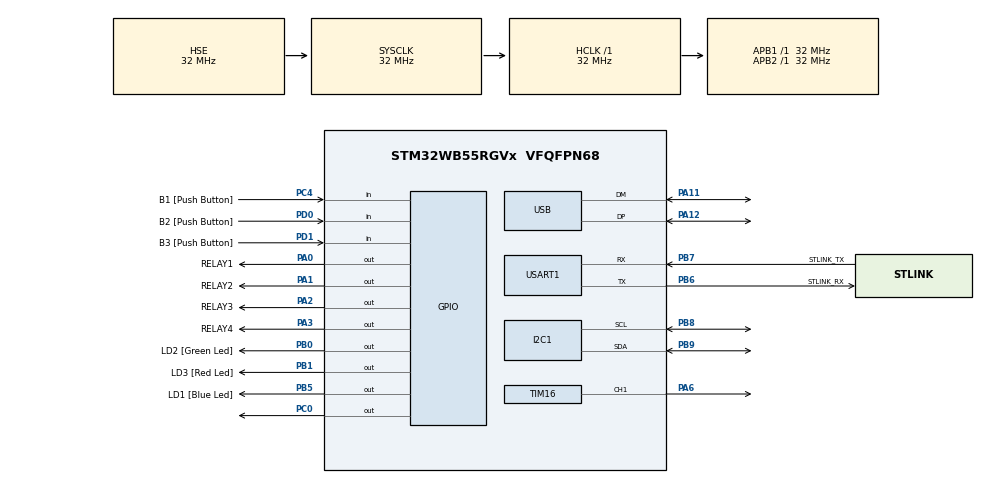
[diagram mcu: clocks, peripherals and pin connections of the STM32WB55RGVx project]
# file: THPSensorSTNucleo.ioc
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Dma.Request0=TIM16_CH1
Dma.TIM16_CH1.0.Direction=DMA_MEMORY_TO_PERIPH
Dma.TIM16_CH1.0.EventEnable=DISABLE
Dma.TIM16_CH1.0.Instance=DMA1_Channel1
Dma.TIM16_CH1.0.MemDataAlignment=DMA_MDATAALIGN_HALFWORD
Dma.TIM16_CH1.0.MemInc=DMA_MINC_ENABLE
Dma.TIM16_CH1.0.Mode=DMA_NORMAL
Dma.TIM16_CH1.0.PeriphDataAlignment=DMA_PDATAALIGN_HALFWORD
Dma.TIM16_CH1.0.PeriphInc=DMA_PINC_DISABLE
Dma.TIM16_CH1.0.Polarity=HAL_DMAMUX_REQ_GEN_RISING
Dma.TIM16_CH1.0.Priority=DMA_PRIORITY_LOW
Dma.TIM16_CH1.0.RequestNumber=1
Dma.TIM16_CH1.0.SignalID=NONE
Dma.TIM16_CH1.0.SyncEnable=DISABLE
Dma.TIM16_CH1.0.SyncPolarity=HAL_DMAMUX_SYNC_NO_EVENT
Dma.TIM16_CH1.0.SyncRequestNumber=1
Dma.TIM16_CH1.0.SyncSignalID=NONE
I2C1.Timing=0x00707CBB
Mcu.Family=STM32WB
Mcu.Name=STM32WB55RGVx
Mcu.Package=VFQFPN68
Mcu.UserConstants=USE_HAL_I2C_REGISTER_CALLBACKS,1
NVIC.DMA1_Channel1_IRQn=true\:0\:0\:false\:false\:true\:false\:true
NVIC.I2C1_ER_IRQn=true\:0\:0\:false\:false\:true\:true\:true
NVIC.I2C1_EV_IRQn=true\:0\:0\:false\:false\:true\:true\:true
NVIC.PriorityGroup=NVIC_PRIORITYGROUP_4
NVIC.TIM2_IRQn=true\:0\:0\:false\:false\:true\:true\:true
OSC_IN.Mode=HSE-External-Oscillator
OSC_IN.Signal=RCC_OSC_IN
OSC_OUT.Mode=HSE-External-Oscillator
OSC_OUT.Signal=RCC_OSC_OUT
PA0.GPIO_Label=RELAY1
PA0.Signal=GPIO_Output
PA1.GPIO_Label=RELAY2
PA1.Signal=GPIO_Output
PA11.Mode=Device
PA11.Signal=USB_DM
PA12.Mode=Device
PA12.Signal=USB_DP
PA13.GPIO_Label=JTMS
PA13.Mode=Trace_Asynchronous_SW
PA13.Signal=SYS_JTMS-SWDIO
PA14.GPIO_Label=JTCK
PA14.Mode=Trace_Asynchronous_SW
PA14.Signal=SYS_JTCK-SWCLK
PA2.GPIO_Label=RELAY3
PA2.Signal=GPIO_Output
PA3.GPIO_Label=RELAY4
PA3.Signal=GPIO_Output
PA6.Signal=S_TIM16_CH1
PB0.GPIO_Label=LD2 [Green Led]
PB0.Signal=GPIO_Output
PB1.GPIO_Label=LD3 [Red Led]
PB1.Signal=GPIO_Output
PB3.GPIO_Label=JTDO
PB3.Mode=Trace_Asynchronous_SW
PB3.Signal=SYS_JTDO-SWO
PB5.GPIO_Label=LD1 [Blue Led]
PB5.Signal=GPIO_Output
PB6.GPIO_Label=STLINK_RX
PB6.Mode=Asynchronous
PB6.Signal=USART1_TX
PB7.GPIO_Label=STLINK_TX
PB7.Mode=Asynchronous
PB7.Signal=USART1_RX
PB8.GPIO_FM8=SYSCFG_FASTMODEPLUS_PB8
PB8.GPIO_Speed=GPIO_SPEED_FREQ_HIGH
PB8.Mode=I2C
PB8.Signal=I2C1_SCL
PB9.GPIO_FM9=SYSCFG_FASTMODEPLUS_PB9
PB9.GPIO_Speed=GPIO_SPEED_FREQ_HIGH
PB9.Mode=I2C
PB9.Signal=I2C1_SDA
PC0.GPIO_Speed=GPIO_SPEED_FREQ_HIGH
PC0.Signal=GPIO_Output
PC13.Mode=SYS_WakeUp1
PC13.Signal=SYS_WKUP2
PC14-OSC32_IN.Mode=LSE-External-Oscillator
PC14-OSC32_IN.Signal=RCC_OSC32_IN
PC15-OSC32_OUT.Mode=LSE-External-Oscillator
PC15-OSC32_OUT.Signal=RCC_OSC32_OUT
PC4.GPIO_Label=B1 [Push Button]
PC4.Signal=GPIO_Input
PD0.GPIO_Label=B2 [Push Button]
PD0.Signal=GPIO_Input
PD1.GPIO_Label=B3 [Push Button]
PD1.Signal=GPIO_Input
ProjectManager.HeapSize=0x200
ProjectManager.StackSize=0x400
ProjectManager.TargetToolchain=STM32CubeIDE
RCC.ADCFreq_Value=48000000
RCC.AHBFreq_Value=32000000
RCC.APB1Freq_Value=32000000
RCC.APB1TimFreq_Value=32000000
RCC.APB2Freq_Value=32000000
RCC.APB2TimFreq_Value=32000000
RCC.APB3Freq_Value=16000000
RCC.CortexFreq_Value=32000000
RCC.HCLKFreq_Value=32000000
RCC.HSE_VALUE=32000000
RCC.HSI48_VALUE=48000000
RCC.HSI_VALUE=16000000
RCC.PLLN=32
RCC.PLLSAI1N=24
RCC.RFWKPClockSelection=RCC_RFWKPCLKSOURCE_LSE
RCC.RTCClockSelection=RCC_RTCCLKSOURCE_LSE
RCC.SYSCLKFreq_VALUE=32000000
RCC.SYSCLKSource=RCC_SYSCLKSOURCE_HSE
RCC.USBFreq_Value=48000000
RCC.VCOOutputFreq_Value=128000000
RF1.Mode=RF1_Activate
RF1.Signal=RF_RF1
SH.S_TIM16_CH1.0=TIM16_CH1,PWM Generation1 CH1
STM32_WPAN.BT_SIG_BLOOD_PRESSURE_SENSOR=Disabled
STM32_WPAN.CFG_FAST_CONN_ADV_INTERVAL_MAX_HEXA=0xa0
STM32_WPAN.CFG_LP_CONN_ADV_INTERVAL_MAX_HEXA=0xfa0
STM32_WPAN.CUSTOM_P2P_SERVER=Enabled
STM32_WPAN.CUSTOM_TEMPLATE=Enabled
STM32_WPAN.LOCAL_NAME=ST_THP
STM32_WPAN.LOCAL_NAME_FORMATTED=,'S','T','_','T','H','P'
TIM16.AutoReloadPreload=TIM_AUTORELOAD_PRELOAD_DISABLE
TIM16.Channel=TIM_CHANNEL_1
TIM16.ClockDivision=TIM_CLOCKDIVISION_DIV1
TIM16.Period=20000
TIM16.Prescaler=31
TIM16.Pulse=1492
TIM2.Period=10000
TIM2.Prescaler=10000
USART1.VirtualMode-Asynchronous=VM_ASYNC
VP_HSEM_VS_HSEM.Mode=HSEM_Activate
VP_RTC_VS_RTC_Activate.Mode=RTC_Enabled
VP_SEQUENCER_VS_SEQUENCER.Mode=SEQUENCER_Enabled
VP_STM32_WPAN_VS_BLE_HOST.Mode=STM32_WPAN_Enabled
VP_TIM16_VS_ClockSourceINT.Mode=Enable_Timer
VP_TIM2_VS_ClockSourceINT.Mode=Internal
VP_TINY_LPM_VS_TINY_LPM.Mode=TINY_LPM_Enabled
board=P-NUCLEO-WB55-Nucleo

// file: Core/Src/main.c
/* USER CODE BEGIN Header */
/**
  ******************************************************************************
  * @file           : main.c
  * @brief          : Main program body
  ******************************************************************************
  * @attention
  *
  * <h2><center>&copy; Copyright (c) 2019 STMicroelectronics.
  * All rights reserved.</center></h2>
  *
  * This software component is licensed by ST under BSD 3-Clause license,
  * the "License"; You may not use this file except in compliance with the
  * License. You may obtain a copy of the License at:
  *                        opensource.org/licenses/BSD-3-Clause
  *
  ******************************************************************************
  */
/* USER CODE END Header */

#include "main.h"
#include "app_entry.h"
#include "app_common.h"

/* USER CODE BEGIN Includes */
#include "stm32_seq.h"
#include "interface.h"
#include "common_blesvc.h"
#include "thpsensor_stm.h"
/* USER CODE END Includes */

I2C_HandleTypeDef hi2c1;

RTC_HandleTypeDef hrtc;

TIM_HandleTypeDef htim2;
TIM_HandleTypeDef htim16;
DMA_HandleTypeDef hdma_tim16_ch1;

UART_HandleTypeDef huart1;

PCD_HandleTypeDef hpcd_USB_FS;

void SystemClock_Config(void);
static void MX_GPIO_Init(void);
static void MX_DMA_Init(void);
static void MX_USART1_UART_Init(void);
static void MX_USB_PCD_Init(void);
static void MX_I2C1_Init(void);
static void MX_TIM2_Init(void);
static void MX_RF_Init(void);
static void MX_RTC_Init(void);
static void MX_TIM16_Init(void);
/* USER CODE BEGIN PFP */

#define SENSOR_TASK_ID		0

/* USER CODE END PFP */

/* USER CODE BEGIN 0 */
void SVCCTL_SvcInit(void)
{
  BLS_Init();

  CRS_STM_Init();

  DIS_Init();

  EDS_STM_Init();

  HIDS_Init();

  HRS_Init();

  HTS_Init();

  IAS_Init();

  LLS_Init();

  TPS_Init();

  MOTENV_STM_Init();

  //P2PS_STM_Init();

  OTAS_STM_Init();

  BVOPUS_STM_Init();

  MESH_Init();

  SVCCTL_BLEDeviceInitCustomSvc();

  return;
}

uint32_t	Period;

/* USER CODE END 0 */

int main(void)
{

  /* MCU Configuration--------------------------------------------------------*/

  /* Reset of all peripherals, Initializes the Flash interface and the Systick. */
  HAL_Init();

  /* Configure the system clock */
  SystemClock_Config();

  /* Initialize all configured peripherals */
  MX_GPIO_Init();
  MX_DMA_Init();
  MX_USART1_UART_Init();
  MX_USB_PCD_Init();
  MX_I2C1_Init();
  MX_TIM2_Init();
  MX_RF_Init();
  MX_RTC_Init();
  MX_TIM16_Init();
  /* USER CODE BEGIN 2 */
  InitSensorTask(&hi2c1);
  Period = 1492 << 16;
  HAL_TIM_PWM_Start_DMA(&htim16, TIM_CHANNEL_1, (uint32_t*)&Period, 2);
  InitServoMotor();
  //UTIL_SEQ_RegTask(1 << CFG_TASK_SENSOR_POLL, 0UL, RunSensorTask);
  //UTIL_SEQ_SetTask(1 << CFG_TASK_SENSOR_POLL, 0);
  /* USER CODE END 2 */

  /* Init code for STM32_WPAN */
  APPE_Init();

  /* Infinite loop */
  while (1)
  {

    /* USER CODE BEGIN 3 */
	  RunSensorTask();
	  UTIL_SEQ_Run(~0);
  }
  /* USER CODE END 3 */
}

void SystemClock_Config(void)
{
  RCC_OscInitTypeDef RCC_OscInitStruct = {0};
  RCC_ClkInitTypeDef RCC_ClkInitStruct = {0};
  RCC_PeriphCLKInitTypeDef PeriphClkInitStruct = {0};

  /** Macro to configure the PLL multiplication factor
  */
  __HAL_RCC_PLL_PLLM_CONFIG(RCC_PLLM_DIV1);
  /** Macro to configure the PLL clock source
  */
  __HAL_RCC_PLL_PLLSOURCE_CONFIG(RCC_PLLSOURCE_MSI);
  /** Configure LSE Drive Capability
  */
  __HAL_RCC_LSEDRIVE_CONFIG(RCC_LSEDRIVE_LOW);
  /** Configure the main internal regulator output voltage
  */
  __HAL_PWR_VOLTAGESCALING_CONFIG(PWR_REGULATOR_VOLTAGE_SCALE1);
  /** Initializes the CPU, AHB and APB busses clocks
  */
  RCC_OscInitStruct.OscillatorType = RCC_OSCILLATORTYPE_HSI|RCC_OSCILLATORTYPE_HSE
                              |RCC_OSCILLATORTYPE_LSE|RCC_OSCILLATORTYPE_MSI;
  RCC_OscInitStruct.HSEState = RCC_HSE_ON;
  RCC_OscInitStruct.LSEState = RCC_LSE_ON;
  RCC_OscInitStruct.HSIState = RCC_HSI_ON;
  RCC_OscInitStruct.MSIState = RCC_MSI_ON;
  RCC_OscInitStruct.HSICalibrationValue = RCC_HSICALIBRATION_DEFAULT;
  RCC_OscInitStruct.MSICalibrationValue = RCC_MSICALIBRATION_DEFAULT;
  RCC_OscInitStruct.MSIClockRange = RCC_MSIRANGE_6;
  RCC_OscInitStruct.PLL.PLLState = RCC_PLL_NONE;
  if (HAL_RCC_OscConfig(&RCC_OscInitStruct) != HAL_OK)
  {
    Error_Handler();
  }
  /** Configure the SYSCLKSource, HCLK, PCLK1 and PCLK2 clocks dividers
  */
  RCC_ClkInitStruct.ClockType = RCC_CLOCKTYPE_HCLK4|RCC_CLOCKTYPE_HCLK2
                              |RCC_CLOCKTYPE_HCLK|RCC_CLOCKTYPE_SYSCLK
                              |RCC_CLOCKTYPE_PCLK1|RCC_CLOCKTYPE_PCLK2;
  RCC_ClkInitStruct.SYSCLKSource = RCC_SYSCLKSOURCE_HSE;
  RCC_ClkInitStruct.AHBCLKDivider = RCC_SYSCLK_DIV1;
  RCC_ClkInitStruct.APB1CLKDivider = RCC_HCLK_DIV1;
  RCC_ClkInitStruct.APB2CLKDivider = RCC_HCLK_DIV1;
  RCC_ClkInitStruct.AHBCLK2Divider = RCC_SYSCLK_DIV1;
  RCC_ClkInitStruct.AHBCLK4Divider = RCC_SYSCLK_DIV1;

  if (HAL_RCC_ClockConfig(&RCC_ClkInitStruct, FLASH_LATENCY_1) != HAL_OK)
  {
    Error_Handler();
  }
  /** Initializes the peripherals clocks
  */
  PeriphClkInitStruct.PeriphClockSelection = RCC_PERIPHCLK_SMPS|RCC_PERIPHCLK_RFWAKEUP
                              |RCC_PERIPHCLK_RTC|RCC_PERIPHCLK_USART1
                              |RCC_PERIPHCLK_I2C1|RCC_PERIPHCLK_USB;
  PeriphClkInitStruct.PLLSAI1.PLLN = 24;
  PeriphClkInitStruct.PLLSAI1.PLLP = RCC_PLLP_DIV2;
  PeriphClkInitStruct.PLLSAI1.PLLQ = RCC_PLLQ_DIV2;
  PeriphClkInitStruct.PLLSAI1.PLLR = RCC_PLLR_DIV2;
  PeriphClkInitStruct.PLLSAI1.PLLSAI1ClockOut = RCC_PLLSAI1_USBCLK;
  PeriphClkInitStruct.Usart1ClockSelection = RCC_USART1CLKSOURCE_PCLK2;
  PeriphClkInitStruct.I2c1ClockSelection = RCC_I2C1CLKSOURCE_PCLK1;
  PeriphClkInitStruct.UsbClockSelection = RCC_USBCLKSOURCE_PLLSAI1;
  PeriphClkInitStruct.RTCClockSelection = RCC_RTCCLKSOURCE_LSE;
  PeriphClkInitStruct.RFWakeUpClockSelection = RCC_RFWKPCLKSOURCE_LSE;
  PeriphClkInitStruct.SmpsClockSelection = RCC_SMPSCLKSOURCE_HSE;
  PeriphClkInitStruct.SmpsDivSelection = RCC_SMPSCLKDIV_RANGE0;

  if (HAL_RCCEx_PeriphCLKConfig(&PeriphClkInitStruct) != HAL_OK)
  {
    Error_Handler();
  }
  /** Enable MSI Auto calibration
  */
  HAL_RCCEx_EnableMSIPLLMode();
}

static void MX_I2C1_Init(void)
{

  hi2c1.Instance = I2C1;
  hi2c1.Init.Timing = 0x00707CBB;
  hi2c1.Init.OwnAddress1 = 0;
  hi2c1.Init.AddressingMode = I2C_ADDRESSINGMODE_7BIT;
  hi2c1.Init.DualAddressMode = I2C_DUALADDRESS_DISABLE;
  hi2c1.Init.OwnAddress2 = 0;
  hi2c1.Init.OwnAddress2Masks = I2C_OA2_NOMASK;
  hi2c1.Init.GeneralCallMode = I2C_GENERALCALL_DISABLE;
  hi2c1.Init.NoStretchMode = I2C_NOSTRETCH_DISABLE;
  if (HAL_I2C_Init(&hi2c1) != HAL_OK)
  {
    Error_Handler();
  }
  /** Configure Analogue filter
  */
  if (HAL_I2CEx_ConfigAnalogFilter(&hi2c1, I2C_ANALOGFILTER_ENABLE) != HAL_OK)
  {
    Error_Handler();
  }
  /** Configure Digital filter
  */
  if (HAL_I2CEx_ConfigDigitalFilter(&hi2c1, 0) != HAL_OK)
  {
    Error_Handler();
  }

}

static void MX_RF_Init(void)
{

}

static void MX_RTC_Init(void)
{

  /** Initialize RTC Only
  */
  hrtc.Instance = RTC;
  hrtc.Init.HourFormat = RTC_HOURFORMAT_24;
  hrtc.Init.AsynchPrediv = CFG_RTC_ASYNCH_PRESCALER;
  hrtc.Init.SynchPrediv = CFG_RTC_SYNCH_PRESCALER;
  if (HAL_RTC_Init(&hrtc) != HAL_OK)
  {
    Error_Handler();
  }

}

static void MX_TIM2_Init(void)
{

  TIM_ClockConfigTypeDef sClockSourceConfig = {0};
  TIM_MasterConfigTypeDef sMasterConfig = {0};

  htim2.Instance = TIM2;
  htim2.Init.Prescaler = 10000;
  htim2.Init.CounterMode = TIM_COUNTERMODE_UP;
  htim2.Init.Period = 10000;
  htim2.Init.ClockDivision = TIM_CLOCKDIVISION_DIV1;
  htim2.Init.AutoReloadPreload = TIM_AUTORELOAD_PRELOAD_DISABLE;
  if (HAL_TIM_Base_Init(&htim2) != HAL_OK)
  {
    Error_Handler();
  }
  sClockSourceConfig.ClockSource = TIM_CLOCKSOURCE_INTERNAL;
  if (HAL_TIM_ConfigClockSource(&htim2, &sClockSourceConfig) != HAL_OK)
  {
    Error_Handler();
  }
  sMasterConfig.MasterOutputTrigger = TIM_TRGO_RESET;
  sMasterConfig.MasterSlaveMode = TIM_MASTERSLAVEMODE_DISABLE;
  if (HAL_TIMEx_MasterConfigSynchronization(&htim2, &sMasterConfig) != HAL_OK)
  {
    Error_Handler();
  }

}

static void MX_TIM16_Init(void)
{

  TIM_OC_InitTypeDef sConfigOC = {0};
  TIM_BreakDeadTimeConfigTypeDef sBreakDeadTimeConfig = {0};

  htim16.Instance = TIM16;
  htim16.Init.Prescaler = 31;
  htim16.Init.CounterMode = TIM_COUNTERMODE_UP;
  htim16.Init.Period = 20000;
  htim16.Init.ClockDivision = TIM_CLOCKDIVISION_DIV1;
  htim16.Init.RepetitionCounter = 0;
  htim16.Init.AutoReloadPreload = TIM_AUTORELOAD_PRELOAD_DISABLE;
  if (HAL_TIM_Base_Init(&htim16) != HAL_OK)
  {
    Error_Handler();
  }
  if (HAL_TIM_PWM_Init(&htim16) != HAL_OK)
  {
    Error_Handler();
  }
  sConfigOC.OCMode = TIM_OCMODE_PWM1;
  sConfigOC.Pulse = 1492;
  sConfigOC.OCPolarity = TIM_OCPOLARITY_HIGH;
  sConfigOC.OCNPolarity = TIM_OCNPOLARITY_HIGH;
  sConfigOC.OCFastMode = TIM_OCFAST_DISABLE;
  sConfigOC.OCIdleState = TIM_OCIDLESTATE_RESET;
  sConfigOC.OCNIdleState = TIM_OCNIDLESTATE_RESET;
  if (HAL_TIM_PWM_ConfigChannel(&htim16, &sConfigOC, TIM_CHANNEL_1) != HAL_OK)
  {
    Error_Handler();
  }
  sBreakDeadTimeConfig.OffStateRunMode = TIM_OSSR_DISABLE;
  sBreakDeadTimeConfig.OffStateIDLEMode = TIM_OSSI_DISABLE;
  sBreakDeadTimeConfig.LockLevel = TIM_LOCKLEVEL_OFF;
  sBreakDeadTimeConfig.DeadTime = 0;
  sBreakDeadTimeConfig.BreakState = TIM_BREAK_DISABLE;
  sBreakDeadTimeConfig.BreakPolarity = TIM_BREAKPOLARITY_HIGH;
  sBreakDeadTimeConfig.BreakFilter = 0;
  sBreakDeadTimeConfig.AutomaticOutput = TIM_AUTOMATICOUTPUT_DISABLE;
  if (HAL_TIMEx_ConfigBreakDeadTime(&htim16, &sBreakDeadTimeConfig) != HAL_OK)
  {
    Error_Handler();
  }
  HAL_TIM_MspPostInit(&htim16);

}

static void MX_USART1_UART_Init(void)
{

  huart1.Instance = USART1;
  huart1.Init.BaudRate = 115200;
  huart1.Init.WordLength = UART_WORDLENGTH_8B;
  huart1.Init.StopBits = UART_STOPBITS_1;
  huart1.Init.Parity = UART_PARITY_NONE;
  huart1.Init.Mode = UART_MODE_TX_RX;
  huart1.Init.HwFlowCtl = UART_HWCONTROL_NONE;
  huart1.Init.OverSampling = UART_OVERSAMPLING_16;
  huart1.Init.OneBitSampling = UART_ONE_BIT_SAMPLE_DISABLE;
  huart1.Init.ClockPrescaler = UART_PRESCALER_DIV1;
  huart1.AdvancedInit.AdvFeatureInit = UART_ADVFEATURE_NO_INIT;
  if (HAL_UART_Init(&huart1) != HAL_OK)
  {
    Error_Handler();
  }
  if (HAL_UARTEx_SetTxFifoThreshold(&huart1, UART_TXFIFO_THRESHOLD_1_8) != HAL_OK)
  {
    Error_Handler();
  }
  if (HAL_UARTEx_SetRxFifoThreshold(&huart1, UART_RXFIFO_THRESHOLD_1_8) != HAL_OK)
  {
    Error_Handler();
  }
  if (HAL_UARTEx_DisableFifoMode(&huart1) != HAL_OK)
  {
    Error_Handler();
  }

}

static void MX_USB_PCD_Init(void)
{

  hpcd_USB_FS.Instance = USB;
  hpcd_USB_FS.Init.dev_endpoints = 8;
  hpcd_USB_FS.Init.speed = PCD_SPEED_FULL;
  hpcd_USB_FS.Init.phy_itface = PCD_PHY_EMBEDDED;
  hpcd_USB_FS.Init.Sof_enable = DISABLE;
  hpcd_USB_FS.Init.low_power_enable = DISABLE;
  hpcd_USB_FS.Init.lpm_enable = DISABLE;
  hpcd_USB_FS.Init.battery_charging_enable = DISABLE;
  if (HAL_PCD_Init(&hpcd_USB_FS) != HAL_OK)
  {
    Error_Handler();
  }

}

static void MX_DMA_Init(void)
{

  /* DMA controller clock enable */
  __HAL_RCC_DMAMUX1_CLK_ENABLE();
  __HAL_RCC_DMA1_CLK_ENABLE();

  /* DMA interrupt init */
  /* DMA1_Channel1_IRQn interrupt configuration */
  HAL_NVIC_SetPriority(DMA1_Channel1_IRQn, 0, 0);
  HAL_NVIC_EnableIRQ(DMA1_Channel1_IRQn);
  /* DMAMUX1_OVR_IRQn interrupt configuration */
  HAL_NVIC_SetPriority(DMAMUX1_OVR_IRQn, 0, 0);
  HAL_NVIC_EnableIRQ(DMAMUX1_OVR_IRQn);

}

static void MX_GPIO_Init(void)
{
  GPIO_InitTypeDef GPIO_InitStruct = {0};

  /* GPIO Ports Clock Enable */
  __HAL_RCC_GPIOC_CLK_ENABLE();
  __HAL_RCC_GPIOB_CLK_ENABLE();
  __HAL_RCC_GPIOA_CLK_ENABLE();
  __HAL_RCC_GPIOD_CLK_ENABLE();

  /*Configure GPIO pin Output Level */
  HAL_GPIO_WritePin(GPIOC, GPIO_PIN_0, GPIO_PIN_RESET);

  /*Configure GPIO pin Output Level */
  HAL_GPIO_WritePin(GPIOA, RELAY1_Pin|RELAY2_Pin|RELAY3_Pin|RELAY4_Pin, GPIO_PIN_RESET);

  /*Configure GPIO pin Output Level */
  HAL_GPIO_WritePin(GPIOB, LD2_Pin|LD3_Pin|LD1_Pin, GPIO_PIN_RESET);

  /*Configure GPIO pin : PC0 */
  GPIO_InitStruct.Pin = GPIO_PIN_0;
  GPIO_InitStruct.Mode = GPIO_MODE_OUTPUT_PP;
  GPIO_InitStruct.Pull = GPIO_NOPULL;
  GPIO_InitStruct.Speed = GPIO_SPEED_FREQ_HIGH;
  HAL_GPIO_Init(GPIOC, &GPIO_InitStruct);

  /*Configure GPIO pins : RELAY1_Pin RELAY2_Pin RELAY3_Pin RELAY4_Pin */
  GPIO_InitStruct.Pin = RELAY1_Pin|RELAY2_Pin|RELAY3_Pin|RELAY4_Pin;
  GPIO_InitStruct.Mode = GPIO_MODE_OUTPUT_PP;
  GPIO_InitStruct.Pull = GPIO_NOPULL;
  GPIO_InitStruct.Speed = GPIO_SPEED_FREQ_LOW;
  HAL_GPIO_Init(GPIOA, &GPIO_InitStruct);

  /*Configure GPIO pin : B1_Pin */
  GPIO_InitStruct.Pin = B1_Pin;
  GPIO_InitStruct.Mode = GPIO_MODE_INPUT;
  GPIO_InitStruct.Pull = GPIO_NOPULL;
  HAL_GPIO_Init(B1_GPIO_Port, &GPIO_InitStruct);

  /*Configure GPIO pins : LD2_Pin LD3_Pin LD1_Pin */
  GPIO_InitStruct.Pin = LD2_Pin|LD3_Pin|LD1_Pin;
  GPIO_InitStruct.Mode = GPIO_MODE_OUTPUT_PP;
  GPIO_InitStruct.Pull = GPIO_NOPULL;
  GPIO_InitStruct.Speed = GPIO_SPEED_FREQ_LOW;
  HAL_GPIO_Init(GPIOB, &GPIO_InitStruct);

  /*Configure GPIO pins : B2_Pin B3_Pin */
  GPIO_InitStruct.Pin = B2_Pin|B3_Pin;
  GPIO_InitStruct.Mode = GPIO_MODE_INPUT;
  GPIO_InitStruct.Pull = GPIO_NOPULL;
  HAL_GPIO_Init(GPIOD, &GPIO_InitStruct);

}

void Error_Handler(void)
{
}

/************************ (C) COPYRIGHT STMicroelectronics *****END OF FILE****/
